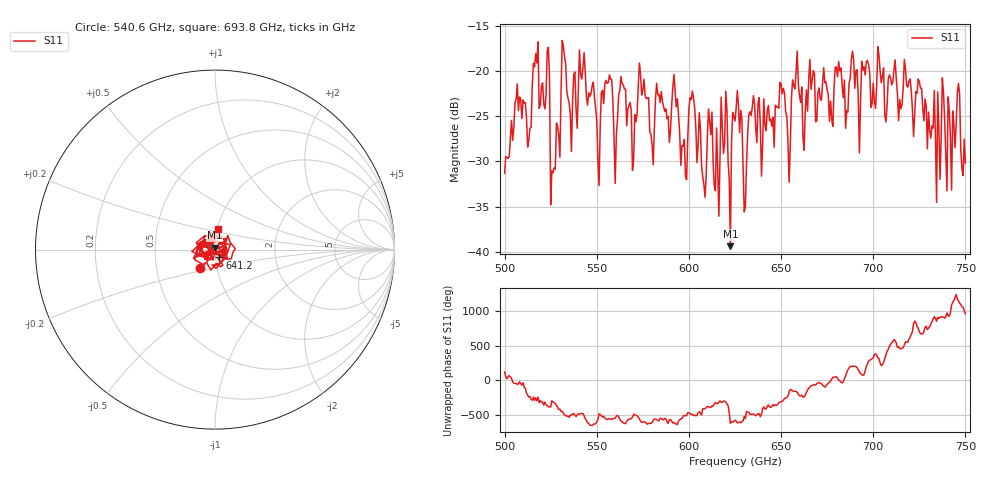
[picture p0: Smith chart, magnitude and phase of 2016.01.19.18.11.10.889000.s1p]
!Created with skrf (http://scikit-rf.org).
# GHz S RI R 50.0
!freq ReS11 ImS11
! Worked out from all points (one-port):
!   401 points, 500 GHz to 750 GHz, reference 50 ohm
!   lowest |S11| = -39.4 dB at 622.5 GHz (marker M1), VSWR 1.02, Z = 49.9 + j1.07 ohm
!   |S11| at or under -10 dB: start of sweep to end of sweep
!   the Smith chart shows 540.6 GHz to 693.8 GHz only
!   S11 on the Smith chart (normalised r, x): 540.6 GHz: 0.83, -0.17; 641.2 GHz: 1.05, -0.09; 693.8 GHz: 1.01, +0.23
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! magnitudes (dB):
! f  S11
! 500 GHz  -31.3
! 506.9 GHz  -21.4
! 513.1 GHz  -27.7
! 516.9 GHz  -18.1
! 523.1 GHz  -17.7
! 526.2 GHz  -31.3
! 531.2 GHz  -16.6
! 540.6 GHz  -17.6
! 550.6 GHz  -29.9
! 562.5 GHz  -22.2
! 593.8 GHz  -23.1
! 597.5 GHz  -27.6
! 601.9 GHz  -22.2
! 608.1 GHz  -32.6
! 611.2 GHz  -25.7
! 615 GHz  -26.3
! 622.5 GHz  -39.4
! 625 GHz  -25.5
! 630.6 GHz  -35.0
! 633.8 GHz  -24.9
! 641.2 GHz  -26.0
! 656.2 GHz  -21.0
! 687.5 GHz  -20.8
! 693.8 GHz  -18.9
! 718.8 GHz  -21.8
! 735 GHz  -22.3
! 746.2 GHz  -21.3
! 750 GHz  -30.2
